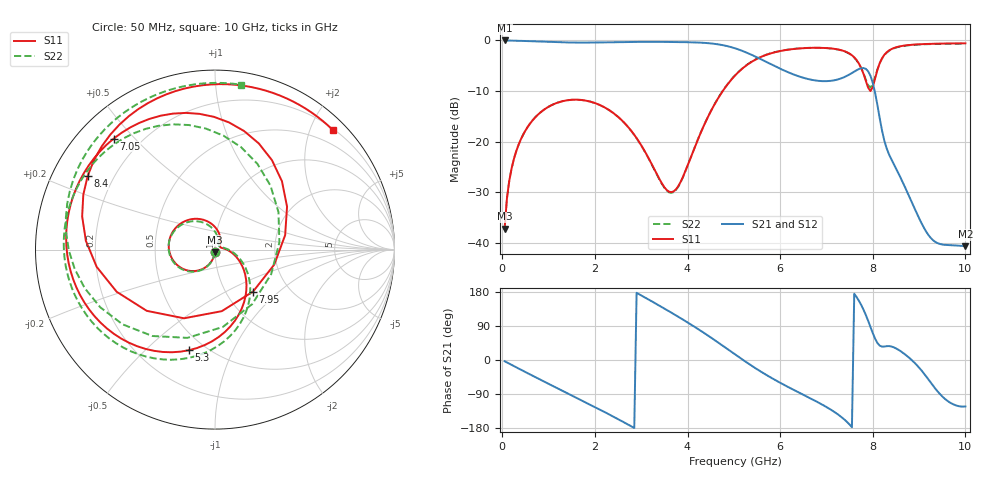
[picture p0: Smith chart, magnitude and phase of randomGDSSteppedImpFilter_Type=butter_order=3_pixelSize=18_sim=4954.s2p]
! freq	dB(S11)	phase(S11)	dB(S12)	phase(S12)
!  dB(S21)	phase(S21)	dB(S22)	phase(S22)
!S-par simulation data
#  GHz  S  DB  R 50
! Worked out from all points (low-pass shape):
!   200 points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, 50 MHz to 10 GHz, reference 50 ohm
!   highest |S21| = -0.01 dB at 50 MHz (marker M1); lowest = -40.7 dB at 10 GHz (marker M2)
!   |S21| within 3 dB of the highest: start of sweep to 5.421 GHz
!   lowest |S11| = -37.2 dB at 50 MHz (marker M3), VSWR 1.03, Z = 49.9 - j1.37 ohm
!   |S11| at or under -10 dB: start of sweep to 4.761 GHz; 7.948718 GHz to 7.951098 GHz (2.381 MHz wide, 0.0299 % of centre)
!   |S22| runs from -37.2 to -0.6 dB; largest |S21 - S12| = 0
!   S11 on the Smith chart (normalised r, x): 50 MHz: 1.00, -0.03; 5.3 GHz: 0.41, -0.69; 7.05 GHz: 0.11, +0.44; 7.95 GHz: 1.33, -0.69; 8.4 GHz: 0.11, +0.27; 10 GHz: 0.22, +2.37
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0.05  -37.22 -92.6  -0.01 -3.3  -0.01 -3.3  -37.22 -92.5
0.2  -25.35 -103.0  -0.03 -12.9  -0.03 -12.9  -25.35 -102.5
0.5  -17.82 -122.8  -0.12 -31.8  -0.12 -31.8  -17.82 -121.6
1.15  -12.46 -163.9  -0.35 -72.1  -0.35 -72.1  -12.46 -161.2
1.75  -11.82 158.7  -0.43 -108.6  -0.43 -108.6  -11.83 163.2
2.65  -16.45 100.0  -0.31 -166.0  -0.31 -166.0  -16.45 108.5
3.4  -27.54 45.7  -0.29 142.8  -0.29 142.8  -27.61 60.6
3.75  -29.46 20.2  -0.32 117.8  -0.32 117.8  -29.58 29.5
4.25  -19.01 -15.4  -0.43 79.9  -0.43 79.9  -18.99 -11.7
5.05  -6.71 -83.1  -1.63 12.7  -1.63 12.7  -6.68 -75.9
5.3  -4.74 -104.6  -2.51 -8.3  -2.51 -8.3  -4.71 -96.2
6.05  -2.01 -161.5  -5.80 -63.4  -5.80 -63.4  -1.99 -149.5
6.7  -1.46 156.3  -7.83 -104.2  -7.83 -104.2  -1.45 171.3
7.05  -1.54 132.4  -8.03 -127.7  -8.03 -127.7  -1.55 149.0
7.6  -3.35 76.2  -6.17 174.9  -6.17 174.9  -3.40 94.3
7.8  -6.61 30.8  -5.46 132.7  -5.46 132.7  -6.52 49.1
7.95  -10.02 -47.7  -6.99 87.2  -6.99 87.2  -9.33 -23.6
8.1  -5.83 -138.1  -12.78 44.9  -12.78 44.9  -5.76 -107.4
8.35  -1.99 157.4  -22.52 36.7  -22.52 36.7  -2.05 -172.2
8.4  -1.73 149.9  -23.49 35.7  -23.49 35.7  -1.78 -179.7
9  -0.76 97.5  -35.16 -20.1  -35.16 -20.1  -0.80 129.6
10  -0.58 45.4  -40.70 -122.6  -40.70 -122.6  -0.63 81.2
